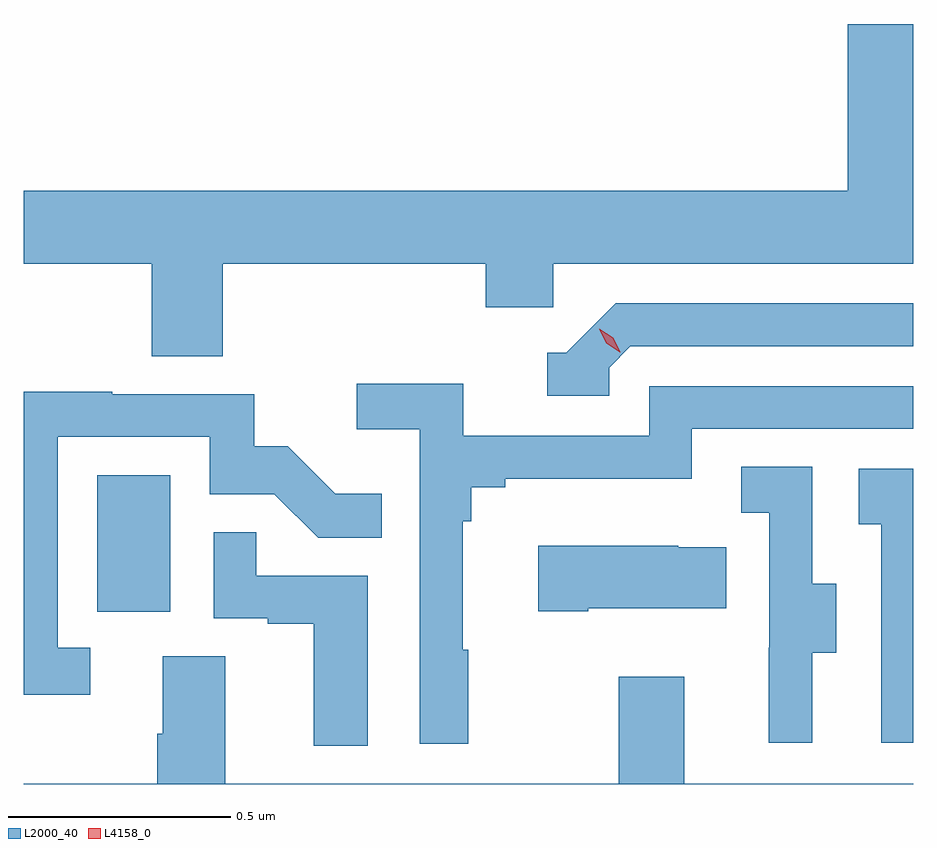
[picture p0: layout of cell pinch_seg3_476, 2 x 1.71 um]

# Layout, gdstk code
import gdstk
lib = gdstk.Library(unit=1e-6, precision=1e-09)
def R(c, l, rs):  # rectangles x0, y0, x1, y1
    for r in rs: c.add(gdstk.rectangle(r[:2], r[2:], *l))
def P(c, l, *ps):  # polygons
    for p in ps: c.add(gdstk.Polygon(p, *l))
L2000_40 = (2000, 40)
L4158_0 = (4158, 0)

pinch_seg3_476 = lib.new_cell('pinch_seg3_476')
R(pinch_seg3_476, L2000_40, [(906.578,678.822,906.742,679.129)])
P(pinch_seg3_476, L2000_40, [(908.412,680.143),(908.264,680.143),(908.264,679.768),(906.412,679.768),(906.412,679.604),(906.7,679.604),(906.7,679.396),(906.86,679.396),(906.86,679.604),(907.451,679.604),(907.451,679.506),(907.602,679.506),(907.602,679.604),(908.412,679.604)],
  [(907.728,679.371),(907.776,679.419),(908.412,679.419),(908.412,679.515),(907.743,679.515),(907.632,679.404),(907.589,679.404),(907.589,679.308),(907.728,679.308)],
  [(907.411,678.737),(907.399,678.737),(907.399,679.025),(907.418,679.025),(907.418,679.102),(907.495,679.102),(907.495,679.121),(907.914,679.121),(907.914,679.233),(908.412,679.233),(908.412,679.329),(907.818,679.329),(907.818,679.218),(907.4,679.218),(907.4,679.334),(907.161,679.334),(907.161,679.232),(907.302,679.232),(907.302,678.525),(907.411,678.525)],
  [(906.562,678.741),(906.489,678.741),(906.489,679.215),(906.831,679.215),(906.831,679.086),(906.976,679.086),(907.074,678.988),(907.217,678.988),(907.217,679.087),(907.113,679.087),(907.006,679.194),(906.93,679.194),(906.93,679.311),(906.611,679.311),(906.611,679.316),(906.412,679.316),(906.412,678.636),(906.562,678.636)],
  [(908.185,678.73),(908.239,678.73),(908.239,678.885),(908.184,678.885),(908.184,679.148),(908.025,679.148),(908.025,679.045),(908.088,679.045),(908.088,678.741),(908.087,678.741),(908.087,678.528),(908.185,678.528)],
  [(908.412,679.143),(908.289,679.143),(908.289,679.019),(908.34,679.019),(908.34,678.528),(908.412,678.528)],
  [(907.186,678.903),(906.935,678.903),(906.935,679.001),(906.84,679.001),(906.84,678.807),(906.961,678.807),(906.961,678.795),(907.064,678.795),(907.064,678.521),(907.186,678.521)],
  [(907.681,678.83),(907.991,678.83),(907.991,678.967),(907.883,678.967),(907.883,678.97),(907.569,678.97),(907.569,678.823),(907.681,678.823)],
  [(908.412,678.436),(907.897,678.436),(907.897,678.676),(907.75,678.676),(907.75,678.436),(906.865,678.436),(906.865,678.722),(906.725,678.722),(906.725,678.548),(906.713,678.548),(906.713,678.436),(906.412,678.436),(906.412,678.435),(908.412,678.435)])
P(pinch_seg3_476, L4158_0, [(907.752,679.405),(907.722,679.425),(907.706,679.458),(907.706,679.458),(907.706,679.458),(907.737,679.438),(907.753,679.406),(907.753,679.405)])

lib.write_gds('pinch_seg3_476.gds')
